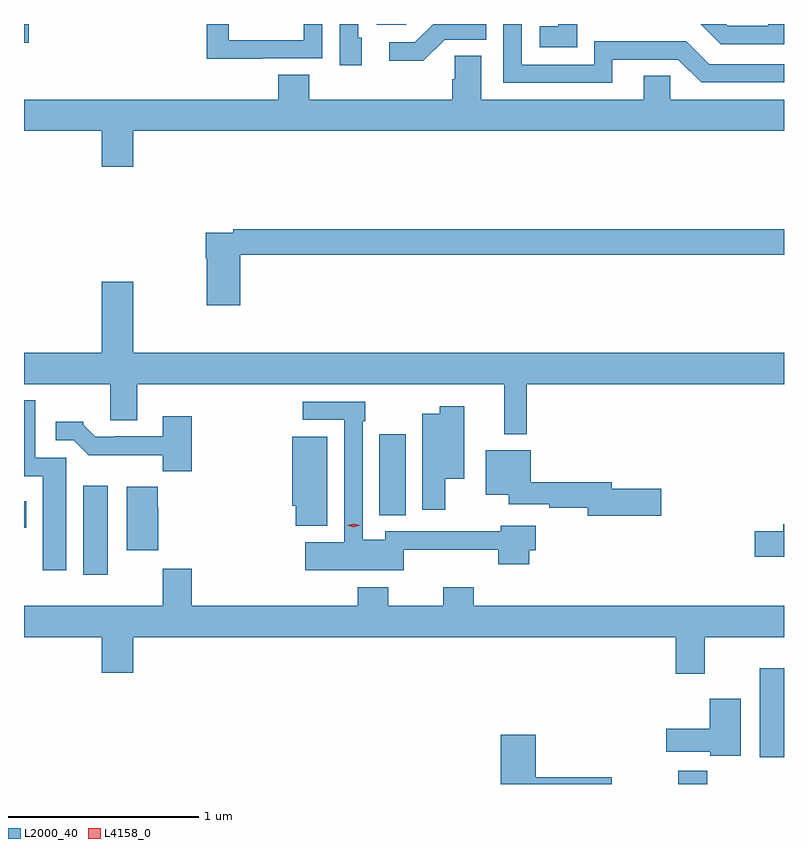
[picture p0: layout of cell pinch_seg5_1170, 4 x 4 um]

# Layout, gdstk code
import gdstk
lib = gdstk.Library(unit=1e-6, precision=1e-09)
def R(c, l, rs):  # rectangles x0, y0, x1, y1
    for r in rs: c.add(gdstk.rectangle(r[:2], r[2:], *l))
def P(c, l, *ps):  # polygons
    for p in ps: c.add(gdstk.Polygon(p, *l))
L2000_40 = (2000, 40)
L4158_0 = (4158, 0)

pinch_seg5_1170 = lib.new_cell('pinch_seg5_1170')
R(pinch_seg5_1170, L2000_40, [(503.705,903.939,503.858,904.009), (504.134,904.08,504.262,904.549), (500.573,905.04,500.704,905.509), (500.262,905.288,500.275,905.428), (502.133,905.353,502.27,905.779), (500.262,907.841,500.287,907.939), (502.118,907.934,502.275,907.939)])
P(pinch_seg5_1170, L2000_40, [(503.359,907.752),(503.706,907.752),(503.826,907.632),(504.262,907.632),(504.262,907.728),(503.868,907.728),(503.748,907.848),(503.262,907.848),(503.262,907.725),(502.881,907.725),(502.881,907.939),(502.785,907.939),(502.785,907.629),(503.359,907.629)],
  [(502.039,907.866),(502.02,907.866),(502.02,907.939),(501.924,907.939),(501.924,907.722),(502.039,907.722)],
  [(504.262,907.939),(504.18,907.939),(504.18,907.93),(503.966,907.93),(503.957,907.939),(503.422,907.939),(503.422,907.938),(503.825,907.938),(503.93,907.833),(504.262,907.833)],
  [(503.175,907.939),(503.075,907.939),(503.075,907.927),(502.977,907.927),(502.977,907.817),(503.175,907.817)],
  [(501.515,907.758),(501.831,907.758),(501.831,907.939),(501.735,907.939),(501.735,907.854),(501.339,907.854),(501.339,907.939),(501.223,907.939),(501.223,907.757),(501.515,907.757)],
  [(502.476,907.857),(502.695,907.857),(502.695,907.939),(502.416,907.939),(502.319,907.842),(502.185,907.842),(502.185,907.745),(502.363,907.745)],
  [(500.836,907.376),(504.262,907.376),(504.262,907.54),(503.664,907.54),(503.664,907.667),(503.525,907.667),(503.525,907.54),(502.669,907.54),(502.669,907.772),(502.53,907.772),(502.53,907.649),(502.517,907.649),(502.517,907.54),(501.764,907.54),(501.764,907.673),(501.599,907.673),(501.599,907.54),(500.262,907.54),(500.262,907.376),(500.672,907.376),(500.672,907.188),(500.836,907.188)],
  [(501.401,906.724),(504.262,906.724),(504.262,906.86),(501.364,906.86),(501.364,906.84),(501.218,906.84),(501.218,906.707),(501.223,906.707),(501.223,906.459),(501.401,906.459)],
  [(502.907,906.044),(504.262,906.044),(504.262,906.208),(500.836,906.208),(500.836,906.583),(500.672,906.583),(500.672,906.208),(500.262,906.208),(500.262,906.044),(500.717,906.044),(500.717,905.854),(500.857,905.854),(500.857,906.044),(502.79,906.044),(502.79,905.781),(502.907,905.781)],
  [(500.485,905.655),(500.322,905.655),(500.322,905.959),(500.262,905.959),(500.262,905.558),(500.36,905.558),(500.36,905.064),(500.485,905.064)],
  [(502.26,905.171),(502.757,905.171),(502.757,905.096),(502.922,905.096),(502.922,905.17),(502.955,905.17),(502.955,905.299),(502.772,905.299),(502.772,905.27),(502.576,905.27),(502.576,905.268),(502.164,905.268),(502.164,905.224),(502.044,905.224),(502.044,905.849),(502.057,905.849),(502.057,905.952),(501.729,905.952),(501.729,905.856),(501.948,905.856),(501.948,905.212),(501.741,905.212),(501.741,905.063),(502.26,905.063)],
  [(502.48,905.546),(502.579,905.546),(502.579,905.926),(502.45,905.926),(502.45,905.887),(502.358,905.887),(502.358,905.382),(502.48,905.382)],
  [(501.146,905.875),(500.993,905.875),(500.993,905.769),(500.737,905.769),(500.737,905.766),(500.638,905.766),(500.574,905.83),(500.574,905.845),(500.43,905.845),(500.43,905.748),(500.523,905.748),(500.602,905.67),(500.991,905.67),(500.991,905.585),(501.146,905.585)],
  [(501.859,905.767),(501.674,905.767),(501.674,905.403),(501.692,905.403),(501.692,905.297),(501.859,905.297)],
  [(503.617,905.492),(503.356,905.492),(503.356,905.528),(502.93,905.528),(502.93,905.695),(502.691,905.695),(502.691,905.462),(502.814,905.462),(502.814,905.412),(503.026,905.412),(503.026,905.392),(503.228,905.392),(503.228,905.35),(503.617,905.35)],
  [(500.968,905.396),(500.966,905.396),(500.966,905.503),(500.804,905.503),(500.804,905.169),(500.968,905.169)],
  [(504.262,905.306),(504.257,905.306),(504.257,905.27),(504.108,905.27),(504.108,905.135),(504.262,905.135)],
  [(503.845,904.712),(504.262,904.712),(504.262,904.876),(502.628,904.876),(502.628,904.975),(502.468,904.975),(502.468,904.876),(502.179,904.876),(502.179,904.975),(502.019,904.975),(502.019,904.876),(501.146,904.876),(501.146,905.071),(500.993,905.071),(500.993,904.876),(500.262,904.876),(500.262,904.712),(500.672,904.712),(500.672,904.524),(500.836,904.524),(500.836,904.712),(503.693,904.712),(503.693,904.518),(503.845,904.518)],
  [(504.034,904.387),(503.87,904.387),(503.87,904.231),(503.643,904.231),(503.643,904.109),(503.874,904.109),(503.874,904.088),(504.034,904.088)],
  [(503.356,903.974),(502.955,903.974),(502.955,904.198),(502.772,904.198),(502.772,903.939),(503.356,903.939)])
P(pinch_seg5_1170, L4158_0, [(501.997,905.291),(501.962,905.3),(501.962,905.3),(501.962,905.3),(501.997,905.31),(502.032,905.302),(502.032,905.301),(502.032,905.301)])

lib.write_gds('pinch_seg5_1170.gds')
